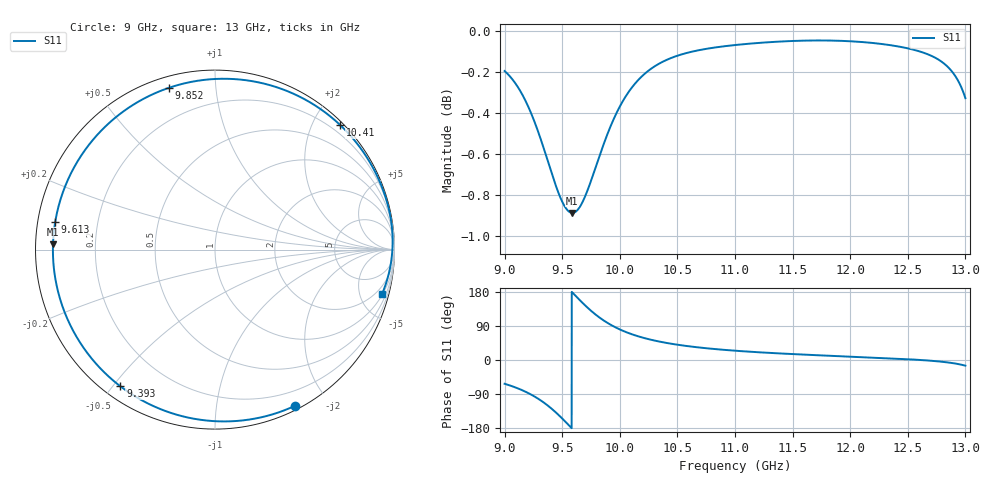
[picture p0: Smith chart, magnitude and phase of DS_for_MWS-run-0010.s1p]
! TOUCHSTONE file generated by CST DESIGN STUDIO
! Date and time: Tue Feb  4 12:50:25 2025
! Project name: C:\Work\MatlabApps\UnitCellOptimizationMatlab\CST\unitcell.cst
! Tree item: Tasks\Sweep1\SPara1\S-Parameters
! Header version: 2024
! Port assignment regex: !\s*Touchstone port\s*([0-9]+)\s*=\s*(CST MWS port|CST DES external port|CST DES block port)\s*(.+)\s* \(\"(.*)\"\)(\s*mode\s*([0-9]+))?.*
! Touchstone port assignment:
! Touchstone port 1 = CST DES external port 1 ("")
# GHz S MA R 50
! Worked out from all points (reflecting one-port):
!   4001 points, 9 GHz to 13 GHz, reference 50 ohm
!   lowest |S11| = -0.9 dB at 9.588 GHz (marker M1), VSWR 19.64, Z = 2.55 + j0.789 ohm
!   phase of S11 starts at -63 deg and turns -312 deg over the sweep
!   S11 on the Smith chart (normalised r, x): 9 GHz: 0.04, -1.64; 9.393 GHz: 0.05, -0.52; 9.613 GHz: 0.05, +0.08; 9.852 GHz: 0.05, +0.75; 10.41 GHz: 0.06, +2.43; 13 GHz: 1.09, -7.46
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9  0.9777 -62.7
9.119  0.9686 -75.4
9.239  0.9536 -92.7
9.321  0.9398 -108.2
9.393  0.9263 -124.7
9.446  0.9167 -138.7
9.5  0.9088 -154.3
9.545  0.9045 -168.2
9.588  0.9031 178.2
9.613  0.9035 170.3
9.669  0.9077 152.9
9.735  0.917 134.0
9.792  0.9267 119.4
9.852  0.9372 106.0
9.92  0.948 93.1
10  0.9585 80.7
10.088  0.9673 69.7
10.183  0.9743 60.4
10.29  0.9798 52.1
10.411  0.984 44.7
10.5  0.9861 40.4
10.719  0.9896 32.0
11  0.992 24.5
11.5  0.9943 15.6
12  0.9941 9.0
12.5  0.9902 2.1
12.802  0.9825 -4.8
13  0.963 -15.0
